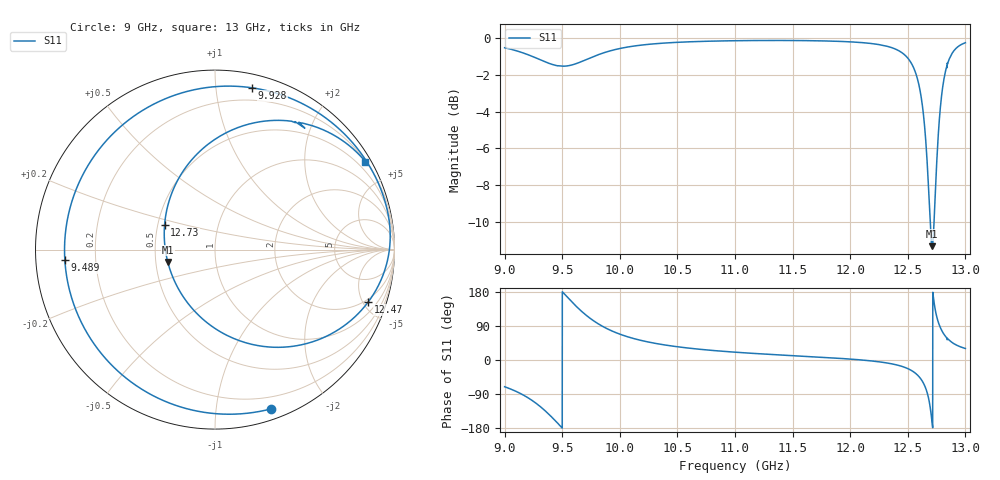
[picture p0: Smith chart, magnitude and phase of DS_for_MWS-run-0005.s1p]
! TOUCHSTONE file generated by CST DESIGN STUDIO
! Date and time: Tue Feb  4 18:17:56 2025
! Project name: C:\Work\MatlabApps\UnitCellOptimizationMatlab\CST\unitcell.cst
! Tree item: Tasks\Sweep1\SPara1\S-Parameters
! Header version: 2024
! Port assignment regex: !\s*Touchstone port\s*([0-9]+)\s*=\s*(CST MWS port|CST DES external port|CST DES block port)\s*(.+)\s* \(\"(.*)\"\)(\s*mode\s*([0-9]+))?.*
! Touchstone port assignment:
! Touchstone port 1 = CST DES external port 1 ("")
# GHz S MA R 50
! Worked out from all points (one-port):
!   4001 points, 9 GHz to 13 GHz, reference 50 ohm
!   lowest |S11| = -11.3 dB at 12.71 GHz (marker M1), VSWR 1.75, Z = 28.9 - j4.34 ohm
!   |S11| at or under -10 dB: 12.69411 GHz to 12.7279 GHz (33.8 MHz wide, 0.266 % of centre)
!   S11 on the Smith chart (normalised r, x): 9 GHz: 0.09, -1.41; 9.489 GHz: 0.09, -0.03; 9.928 GHz: 0.10, +1.25; 12.47 GHz: 1.75, -5.47; 12.73 GHz: 0.54, +0.16; 13 GHz: 0.22, +3.67
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9  0.9409 -70.6
9.159  0.9112 -91.9
9.274  0.8822 -114.4
9.375  0.8557 -140.5
9.489  0.8387 -176.1
9.5  0.8384 -179.7
9.588  0.8455 151.9
9.702  0.8719 119.6
9.802  0.898 97.5
9.928  0.9248 77.1
10  0.9363 68.2
10.215  0.9588 49.6
10.5  0.9733 34.9
11  0.9831 20.6
11.5  0.9844 11.5
12  0.9762 2.4
12.283  0.9553 -6.1
12.469  0.902 -18.9
12.5  0.8818 -22.7
12.579  0.7841 -38.2
12.641  0.5976 -64.2
12.676  0.4145 -95.1
12.711  0.2721 -165.2
12.727  0.312 154.3
12.768  0.5664 96.9
12.808  0.7538 70.8
12.888  0.9121 45.4
13  0.9706 30.4
